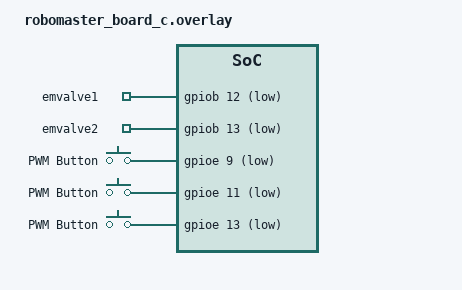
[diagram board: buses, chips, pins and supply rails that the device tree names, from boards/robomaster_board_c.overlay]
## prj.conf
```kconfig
# 启用线程分析器
CONFIG_THREAD_ANALYZER=y
CONFIG_THREAD_ANALYZER_USE_LOG=y
CONFIG_THREAD_ANALYZER_USE_PRINTK=n
CONFIG_THREAD_NAME=y
# CONFIG_THREAD_ANALYZER_AUTO=y
# CONFIG_THREAD_ANALYZER_AUTO_INTERVAL=5
CONFIG_THREAD_ANALYZER_LOG_LEVEL_INF=y
CONFIG_THREAD_ANALYZER_AUTO_SEPARATE_CORES=n


# # 调试
# CONFIG_LOG_MODE_IMMEDIATE=y
# CONFIG_ASSERT=y
# CONFIG_DEBUG_INFO=y
# CONFIG_THREAD_STACK_INFO=y
# CONFIG_STACK_SENTINEL=y

# 启用 Shell 支持
CONFIG_SHELL=n
CONFIG_SHELL_BACKENDS=n
CONFIG_SHELL_BACKEND_SERIAL=n

# 启用 UART 控制台
CONFIG_UART_CONSOLE=y

# 禁用 SEGGER RTT
CONFIG_USE_SEGGER_RTT=n

# 启用事件支持
CONFIG_EVENTS=y

# 启用控制台支持
CONFIG_CONSOLE=y

# 启用串行支持
CONFIG_SERIAL=y
CONFIG_SPI_ASYNC=y
# 禁用优化
CONFIG_NO_OPTIMIZATIONS=n

# 启用驱动
CONFIG_MOTOR=y
CONFIG_MOTOR_DJI=y
CONFIG_MOTOR_MI=y
CONFIG_MOTOR_LOG_LEVEL=4
CONFIG_CAN=y
CONFIG_MOTOR_INIT_PRIORITY=90
CONFIG_PID=y

CONFIG_ARES=y
CONFIG_ARES_SBUS=y
CONFIG_SBUS_INIT_PRIORITY=90

# use ASYNC uart API
CONFIG_SERIAL=y
CONFIG_UART_ASYNC_API=y
CONFIG_UART_INTERRUPT_DRIVEN=y

CONFIG_DMA=y
CONFIG_DMA_STM32=y  # STM32 DMA 驱动
CONFIG_UART_STM32=y # STM32 UART 驱动
# CONFIG_STM32_UART_DMA=y

# CONFIG_HAS_STM32CUBE=y
# CONFIG_USE_STM32_HAL_DMA=y
CONFIG_SPI=y
CONFIG_SPI_STM32=y

#
# Device Drivers
#
# CONFIG_SENSOR=y
# CONFIG_BMI08X=y
# CONFIG_BMI08X_ACCEL_TRIGGER_NONE is not set
# CONFIG_BMI08X_ACCEL_TRIGGER_GLOBAL_THREAD=y
# CONFIG_BMI08X_ACCEL_TRIGGER_OWN_THREAD is not set
# CONFIG_BMI08X_GYRO_TRIGGER_NONE is not set
# CONFIG_BMI08X_GYRO_TRIGGER_GLOBAL_THREAD=y
# CONFIG_BMI08X_GYRO_TRIGGER_OWN_THREAD is not set
# CONFIG_BMI08X_I2C_WRITE_BURST_SIZE=16


CONFIG_DEBUG_THREAD_INFO=y

CONFIG_MAIN_STACK_SIZE=4096
```

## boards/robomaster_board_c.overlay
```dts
/ {
    chassis: chassis {
		compatible = "ares,chassis";
		status = "okay";
		wheels = <&steerwheel1 (-2500) 1750>,
				<&steerwheel2  2500  1750>,
				<&steerwheel3 0 (-3501)>;
		angle-pid = <&chassis_roll_angle_pid>;
		max_linear_accel = "40";
		max_gyro = "20";
	};
	steerwheel {
		steerwheel1: steerwheel1 {
			#wheel-cells = <2>;
			compatible = "ares,steerwheel";
			status = "okay";
			steer-motor = <&motor_steer0>;
			wheel-motor = <&motor_wheel0>;
			wheel-radius = "5.55";
			angle-offset = "120";
		};

		steerwheel2: steerwheel2 {
			#wheel-cells = <2>;
			compatible = "ares,steerwheel";
			status = "okay";
			steer-motor = <&motor_steer1>;
			wheel-motor = <&motor_wheel1>;
			wheel-radius = "5.55";
			angle-offset = "180";
		};

		steerwheel3: steerwheel3 {
			#wheel-cells = <2>;
			compatible = "ares,steerwheel";
			status = "okay";
			steer-motor = <&motor_steer2>;
			wheel-motor = <&motor_wheel2>;
			wheel-radius = "5.55";
			angle-offset = "0";
		};
	};

	rm_motor {
		motor_wheel0: motor_wheel0{
			compatible = "dji,motor";
            is_m3508;
			id = <1>;
            rx_id = <0x201>;
            tx_id = <0x200>;
			gear_ratio = "15.7647";
			status = "okay";
			can_channel = <&can1>;
			controllers = <&wheel_angle_pid &wheel_speed_pid>;
			capabilities = "angle", "speed";
		};

		motor_wheel1: motor_wheel1{
			compatible = "dji,motor";
            is_m3508;
			id = <2>;
            rx_id = <0x202>;
            tx_id = <0x200>;
			gear_ratio = "15.7647";
			status = "okay";
			can_channel = <&can1>;
			controllers = <&wheel_angle_pid &wheel_speed_pid>;
			capabilities = "angle", "speed";
		};

		motor_wheel2: motor_wheel2{
			compatible = "dji,motor";
            is_m3508;
			id = <3>;
            rx_id = <0x203>;
            tx_id = <0x200>;
			gear_ratio = "15.7647";
			status = "okay";
			can_channel = <&can1>;
			controllers = <&wheel_angle_pid &wheel_speed_pid>;
			capabilities = "angle", "speed";
		};

		motor_steer0: motor_steer0{
			compatible = "dji,motor";
			is_m2006;
			id = <4>;
			rx_id = <0x204>;
			tx_id = <0x1FF>;
			gear_ratio = "36.0";
			status = "okay";
			can_channel = <&can1>;
			controllers = <&steer_angle_pid &steer_speed_pid>;
			capabilities = "angle", "speed";
		};

		motor_steer1: motor_steer1{
			compatible = "dji,motor";
			is_m2006;
			id = <5>;
			rx_id = <0x205>;
			tx_id = <0x1FF>;
			gear_ratio = "36.0";
			status = "okay";
			can_channel = <&can1>;
			controllers = <&steer_angle_pid &steer_speed_pid>;
			capabilities = "angle", "speed";
		};

		motor_steer2: motor_steer2{
			compatible = "dji,motor";
			is_m2006;
			id = <6>;
			rx_id = <0x206>;
			tx_id = <0x1FF>;
			gear_ratio = "36.0";
			status = "okay";
			can_channel = <&can1>;
			controllers = <&steer_angle_pid &steer_speed_pid>;
			capabilities = "angle", "speed";
		};

        motor7: motor7{
            compatible = "dji,motor";
            is_m3508;
            id = <7>;
            rx_id = <0x201>;
            tx_id = <0x200>;
            gear_ratio = "12.94";
            status = "okay";
            can_channel = <&can1>;
            controllers = <&angle_pid_1 &speed_pid_1>;
            capabilities = "angle", "speed";
        };

        motor8: motor8{
            compatible = "dji,motor";
            is_m3508;
            id = <8>;
            rx_id = <0x202>;
            tx_id = <0x200>;
            gear_ratio = "12.94";
            status = "okay";
            can_channel = <&can1>;
            controllers = <&angle_pid_1 &speed_pid_1>;
            capabilities = "angle", "speed";
        };
};
    mi_motor{
        motor1: motor1{
            compatible = "mi,motor";
            id = <1>;
            rx_id = <0x01>;
            tx_id = <0x01>;
            gear_ratio = "7.75";
            status = "okay";
            can_channel = <&can2>;
            controllers = <&mit_pid_1 &angle_pid_2 &speed_pid_2>;
            capabilities = "mit", "pv", "vo";
        };
        
        motor2: motor2{
            compatible = "mi,motor";
            id = <2>;
            rx_id = <0x02>;
            tx_id = <0x02>;
            gear_ratio = "7.75";
            status = "okay";
            can_channel = <&can2>;
            controllers = <&mit_pid_1 &angle_pid_2 &speed_pid_2>;
            capabilities = "mit", "pv", "vo";
        };

    };

   	pid {
		mit_pid_1: mit_pid_1 {
			#controller-cells = <0>;
			compatible = "pid,single";
			k_p = "95";
			k_i = "0.0";
			k_d = "47.0";
		};
		angle_pid_1: angle_pid_1 {
			#controller-cells = <0>;
			compatible = "pid,single";
			k_p = "5";
			k_d = "0.1";
		};
		speed_pid_1: speed_pid_1 {
			#controller-cells = <0>;
			compatible = "pid,single";
			k_p = "0.1";
			k_d = "0.001";
		};
		angle_pid_2: angle_pid_2 {
			#controller-cells = <0>;
			compatible = "pid,single";
			k_p = "0.7";
			k_d = "8";
		};
		speed_pid_2: speed_pid_2 {
			#controller-cells = <0>;
			compatible = "pid,single";
			k_p = "0.88";
			k_d = "0.2";
		};
        chassis_roll_angle_pid: chassis_roll_angle_pid {
			#controller-cells = <0>;
			compatible = "pid,single";
			k_p = "0.09";
			k_d = "0.27";
		};
		steer_speed_pid: steer_speed_pid {
			#controller-cells = <0>;
			compatible = "pid,single";
			k_p = "1.25";
			k_d = "28.5";
			detri_lpf = "0.95";
		};

		steer_angle_pid: steer_angle_pid {
			#controller-cells = <0>;
			compatible = "pid,single";
			k_p = "0.85";
			k_d = "20";
			detri_lpf = "0.9985";
		};
		wheel_speed_pid: wheel_speed_pid {
			#controller-cells = <0>;
			compatible = "pid,single";
			k_p = "0.12";
			k_d = "0.2";
			detri_lpf = "0.85";
			out_max = "4";
		};

		wheel_angle_pid: wheel_angle_pid {
			#controller-cells = <0>;
			compatible = "pid,single";
			k_p = "3.7";
			detri_lpf = "0.85";
		};
	};

    emvalve {
        compatible = "gpio-keys";
        emvalve1: emvalve1 {
            gpios = <&gpiob 12 GPIO_ACTIVE_LOW>;
            label = "emvalve1";
        };
        emvalve2: emvalve2 {
            gpios = <&gpiob 13 GPIO_ACTIVE_LOW>;
            label = "emvalve2";
        };
    };

    sbus0: sbus0 {
        compatible = "ares,sbus";
        status = "okay";
    };

    pwm_button {
		compatible = "gpio-keys";
		pwm_button1: button_1 {
			gpios = <&gpioe 9 (GPIO_PULL_UP | GPIO_ACTIVE_LOW)>;
			label = "PWM Button";
			zephyr,code = <INPUT_KEY_1>;
		};
		pwm_button2: button_2 {
			gpios = <&gpioe 11 (GPIO_PULL_UP | GPIO_ACTIVE_LOW)>;
			label = "PWM Button";
			zephyr,code = <INPUT_KEY_2>;
		};
		pwm_button3: button_3 {
			gpios = <&gpioe 13 (GPIO_PULL_UP | GPIO_ACTIVE_LOW)>;
			label = "PWM Button";
			zephyr,code = <INPUT_KEY_3>;
		};
	};
};
&cdc_acm_uart0 {
	status = "disabled";
};
```

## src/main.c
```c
/*
 * Copyright (c) 2024 ttwards <12411711@mail.sustech.edu.cn>
 *
 * SPDX-License-Identifier: Apache-2.0
 */

 #include "zephyr/drivers/gpio.h"
 #include <stdbool.h>
 #include <stddef.h>
 #include <stdint.h>
 #include <stdio.h>
 #include <math.h>
 #include <zephyr/device.h>
 #include <zephyr/logging/log.h>
 #include <zephyr/devicetree.h>
 #include <zephyr/drivers/can.h>
 #include <zephyr/debug/thread_analyzer.h>
 #include <zephyr/kernel.h>
 #include <zephyr/sys/printk.h>
 #include <zephyr/drivers/uart.h>
 #include <zephyr/drivers/motor.h>
 #include <zephyr/drivers/sbus.h>
 #include <zephyr/drivers/sensor.h>
 #include "device.h"

 LOG_MODULE_REGISTER(main, LOG_LEVEL_DBG);

#define G 9.80665f
#define M_PI 3.14159265358979323846f
#define orig_angle_1 156.91f  //电机1的限位角度
#define orig_angle_2 136.32f  //电机2的限位角度
#define angle_range 113.23f    //电机的总限位角度
#define IK_EPSILON 1e-9

#define HIGH_BYTE(x) ((x) >> 8)
#define LOW_BYTE(x) ((x)&0xFF)
#define COMBINE_HL8(HIGH, LOW) ((HIGH << 8) + LOW)
 

 float current_angle3 = 0.0f; // 当前电机3角度（运球抬升mi）
 float current_angle4 = 0.0f; // 当前电机4角度（推射抬升mi）
 //float current_angle7 = 0.0f; // 当前电机7角度
 //float current_angle8 = 0.0f; // 当前电机8角度
 
//  --- 将 feedback_thread_data 的声明移到全局范围 ---
 struct k_thread feedback_thread_data; // <--- 这里是关键改动
 k_tid_t feedback_tid = 0; // 如果 feedback_tid 也声明在 main 里，也要移到这里


// 全局变量
static bool arm_position_reached_90 = false;
static bool arm_position_reached_60 = false;
//  K_THREAD_STACK_DEFINE(feedback_stack_area, 4096);

//  void console_feedback(void *arg1, void *arg2, void *arg3)
//  {
//    while (1) {
//      k_msleep(20);
//      LOG_INF("motor1: %.2f", motor_get_angle(motor5));
//      LOG_INF("motor2: %.2f", motor_get_angle(motor6));
//    }
//  }
//  K_THREAD_DEFINE(feedback_thread, 4096, console_feedback, NULL, NULL, NULL, 1, 0,
//     100);


 bool sbus_get_bool(const struct device *sbus, int channel)
{
	sbus_get_digit(sbus, channel);
	return (double)sbus_get_percent(sbus, channel) > 0.5;
}

// 添加互斥锁定义
K_MUTEX_DEFINE(motor_mutex);
K_MUTEX_DEFINE(sbus_mutex);

// 全局状态变量
static volatile bool ball_movement_active = false;
static volatile bool ball_thread_should_stop = false;

void execute_ball_movement(void)
{
    LOG_INF("Executing ball movement sequence");
    
    // 第一阶段：加速
    motor_set_speed(motor1, 400.0);
    motor_set_speed(motor2, -400.0);
    k_msleep(200);
    
    // 检查是否应该停止
    if (ball_thread_should_stop) {
        goto cleanup;
    }
    
    // 渐减速度
    for (int i = 60; i > 0; i--) {
        if (ball_thread_should_stop) {
            goto cleanup;
        }
        motor_set_speed(motor1, 400.0f * sqrtf(i / 60.0f));
        motor_set_speed(motor2, -400.0f * sqrtf(i / 60.0f));
        k_msleep(3);
    }
    
    // 第二阶段：反向运动
    motor_set_speed(motor1, -250);
    motor_set_speed(motor2, 230);
    k_msleep(400);
    
    // 检查是否应该停止
    if (ball_thread_should_stop) {
        goto cleanup;
    }
    
    // 反向渐减
    for (int i = 50; i > 1; i--) {
        if (ball_thread_should_stop) {
            goto cleanup;
        }
        motor_set_speed(motor1, -250.0f * sqrtf(i / 100.0f));
        motor_set_speed(motor2, 230.0f * sqrtf(i / 100.0f));
        k_msleep(5);
    }
    
    // 缓慢运动
    motor_set_speed(motor1, -25);
    motor_set_speed(motor2, 20);
    k_msleep(1000);
    motor_set_speed(motor1, 0);
    motor_set_speed(motor2, 0);
    k_msleep(1100);
    
cleanup:
    // 确保电机停止
    motor_set_torque(motor1, 0);
    motor_set_torque(motor2, 0);
    LOG_INF("Ball movement sequence complete");
}

void ball_movement_thread(void *arg1, void *arg2, void *arg3)
{
    while(1)
    {
        // 获取互斥锁保护SBUS读取
        if (k_mutex_lock(&sbus_mutex, K_MSEC(10)) == 0) {
            bool sbus_ball_active = sbus_get_bool(sbus, 5);
            k_mutex_unlock(&sbus_mutex);
            
            if (sbus_ball_active && !ball_thread_should_stop) {
                // 获取电机控制权
                if (k_mutex_lock(&motor_mutex, K_MSEC(50)) == 0) {
                    ball_movement_active = true;
                    LOG_INF("Ball thread: Starting ball movement");
                    
                    // 执行运球动作
                    execute_ball_movement();
                    
                    ball_movement_active = false;
                    k_mutex_unlock(&motor_mutex);
                    LOG_INF("Ball thread: Ball movement complete");
                } else {
                    LOG_WRN("Ball thread: Could not acquire motor mutex");
                }
            } else {
                // 确保电机停止
                if (k_mutex_lock(&motor_mutex, K_MSEC(10)) == 0) {
                    if (ball_movement_active) {
                        motor_set_torque(motor1, 0);
                        motor_set_torque(motor2, 0);
                        ball_movement_active = false;
                        LOG_INF("Ball thread: Motors stopped");
                    }
                    k_mutex_unlock(&motor_mutex);
                }
            }
        }
        
        k_msleep(100);  // 降低检查频率
    }
}



// 修改线程优先级
K_THREAD_DEFINE(ball_thread, 4096, ball_movement_thread, NULL, NULL, NULL, 7, 0, 0);
//                                                                           ^
//
// 降低优先级到7


// 电磁阀控制线程
void valve_control_thread(void *arg1, void *arg2, void *arg3)
{
    while(1) {
        if (k_mutex_lock(&sbus_mutex, K_MSEC(10)) == 0) {
            float valve_percent = sbus_get_percent(sbus, 6);
            k_mutex_unlock(&sbus_mutex);
            
            if (valve_percent > 0.5f) {
                gpio_pin_set_dt(&emvalve1, true);   // 推球
                gpio_pin_set_dt(&emvalve2, false);  // 不吸球
            }
            else if (valve_percent == 0.0f) {
                gpio_pin_set_dt(&emvalve1, false);  // 不推球
                gpio_pin_set_dt(&emvalve2, true);   // 吸球
            }
            else {
                gpio_pin_set_dt(&emvalve1, false);  // 不推球
                gpio_pin_set_dt(&emvalve2, false);  // 不吸球
            }
        }
        
        k_msleep(20);  // 高频响应
    }
}

// 创建电磁阀线程
K_THREAD_DEFINE(valve_thread, 1024, valve_control_thread, NULL, NULL, NULL, 6, 0, 0);


void execute_lifting_control(void)
{
    // 原有的抬升控制逻辑
    current_angle3 = motor_get_angle(motor7);
    current_angle4 = motor_get_angle(motor8);
    
    static bool prev_lifting_state = false;
    static bool lifting_sequence_running = false;
    static bool target_position_reached = false;
    
    bool current_lifting_state = sbus_get_bool(sbus, 4);
    
    // 检测状态变化 - 类似中断触发
    if (current_lifting_state != prev_lifting_state && !lifting_sequence_running) {
        if (current_lifting_state) {
            // 开始抬升序列
            // LOG_INF("SBUS Channel 7 triggered - Starting lifting sequence");
            lifting_sequence_running = true;
            
            // 执行抬升的渐进序列
            for (int i = 1; i < 10; i++) {
                float target_angle3 = ((-105.0f - current_angle3) * (float)i / 9.0f) + current_angle3;
                // float target_angle4 = ((-94.0f - current_angle4) * (float)i / 9.0f) + current_angle4;
                
                motor_set_mit(motor7, 0.0f, target_angle3, 5.0f);
                // motor_set_mit(motor4, 0.0f, target_angle4, 0.2f);
                
                k_msleep(80);
                
                // 检查是否被中断
                if (!sbus_get_bool(sbus, 4)) {
                    lifting_sequence_running = false;
                    break;
                }
            }
            
            if (lifting_sequence_running) {
                motor_set_mit(motor7, 0.0f, -105.0f, 5.0f);
                // motor_set_mit(motor4, 0.0f, -94.0f, 4.0f);
                target_position_reached = true;
                // LOG_INF("Lifting sequence complete");
            }
            lifting_sequence_running = false;
            
        } else {
            // 开始下降序列
            // LOG_INF("Starting falling sequence");
            lifting_sequence_running = true;
            target_position_reached = false;
            
            for (int i = 1; i < 10; i++) {
                float target_angle3 = ((0.0f - current_angle3) * (float)i / 9.0f) + current_angle3;
                // float target_angle4 = ((0.0f - current_angle4) * (float)i / 9.0f) + current_angle4;
                
                motor_set_mit(motor7, 0.0f, target_angle3, 0.0f);
                // motor_set_mit(motor4, 0.0f, target_angle4, 0.0f);
                
                k_msleep(80);
                
                if (sbus_get_bool(sbus, 4)) {
                    lifting_sequence_running = false;
                    break;
                }
            }
            lifting_sequence_running = false;
            // LOG_INF("Falling sequence complete");
        }
        
        prev_lifting_state = current_lifting_state;
    }
    
    // 位置保持逻辑
    if (!lifting_sequence_running) {
        if (current_lifting_state && target_position_reached) {
            motor_set_mit(motor7, 0.0f, -105.0f, 5.0f);
            // motor_set_mit(motor4, 0.0f, -94.0f, 4.0f);
        } else if (!current_lifting_state && !target_position_reached) {
            motor_set_mit(motor7, 0.0f, 0.0f, 2.0f);
            // motor_set_mit(motor4, 0.0f, 0.0f, 4.0f);
        }
    }

}

void execute_arm_control(void)
{
    if (sbus_get_percent(sbus, 7) > 0.5f) {
        if (!arm_position_reached_90) { // 只有未完成抬升时才执行
            // 逐渐抬升到 -90.0f
            for (int i = 1; i <= 10; i++) {
                float target_angle = ((-90.0f - current_angle4) * (float)i / 10.0f) + current_angle4;
                motor_set_mit(motor8, 0.0f, target_angle, 0.1f);
                k_msleep(60);
            }
            arm_position_reached_90 = true; // 标记为已完成抬升
            arm_position_reached_60 = false; // 重置状态
        }
    } 
    
    else if(sbus_get_percent(sbus, 7) == 0.0f) {
        if (!arm_position_reached_60) { // 只有未完成抬升时才执行
            // 逐渐抬升到 -60.0f
            for (int i = 1; i <= 10; i++) {
                float target_angle = ((-60.0f - current_angle4) * (float)i / 10.0f) + current_angle4;
                motor_set_mit(motor8, 0.0f, target_angle, 0.1f);
                k_msleep(30);
            }
            arm_position_reached_60 = true; // 标记为已完成抬升
            arm_position_reached_90 = false; // 重置状态
        }
    }
    
    else {
        if (arm_position_reached_60 || arm_position_reached_90) { // 只有未完成下降时才执行
            // 逐渐下降到 0.0f
            for (int i = 1; i <= 10; i++) {
                float target_angle = ((0.0f - current_angle4) * (float)i / 10.0f) + current_angle4;
                motor_set_mit(motor8, 0.0f, target_angle, 0.5f);
                k_msleep(60);
            }
            arm_position_reached_60 = false;
            arm_position_reached_90 = false; // 标记为已完成下降
        }
    }
}


int main(void)
{
    gpio_pin_configure_dt(&emvalve1, GPIO_OUTPUT_ACTIVE);
    gpio_pin_configure_dt(&emvalve2, GPIO_OUTPUT_ACTIVE);

    // 设备就绪检查
    if (!device_is_ready(motor1) || !device_is_ready(motor2) ||
        !device_is_ready(motor7) || !device_is_ready(motor8)) {
        LOG_ERR("One or more motor devices are not ready!");
        return 0;
    }

    motor_control(motor1, SET_ZERO);
    motor_control(motor2, SET_ZERO);
    motor_set_angle(motor1, 0);
    motor_set_angle(motor2, 0);

    // 初始化抬升电机 - 直接在主函数中
    motor_set_mode(motor7, MIT);
    k_sleep(K_MSEC(1));
    motor_set_mode(motor8, MIT);
    k_sleep(K_MSEC(1));
    motor_control(motor7, SET_ZERO);
    k_sleep(K_MSEC(1));
    motor_control(motor8, SET_ZERO);
    k_sleep(K_MSEC(1));

    // motor_set_angle(motor3, 0);
    // motor_set_angle(motor4, 0);

    // Five link;
    // five_init(&link, 230.0, 270.0, 270.0, 230.0, 200.0);
    // motor_set_mode(motor5, MIT);
    // k_msleep(1);
    // motor_set_mode(motor6, MIT);
    // k_msleep(550);

    // init_position(); //五连杆初始化
    // k_msleep(1000);



    
    while (1) {
        // 检查运球线程状态
        if (k_mutex_lock(&sbus_mutex, K_MSEC(10)) == 0) {
            bool current_ball_state = sbus_get_bool(sbus, 5);
            k_mutex_unlock(&sbus_mutex);
            
            if (current_ball_state) {
                ball_thread_should_stop = false;
                LOG_INF("Main: Ball movement active");
                k_msleep(100);
                continue;
            } else {
                ball_thread_should_stop = true;
            }
        }

        // 其他电机控制逻辑...
        if (k_mutex_lock(&motor_mutex, K_MSEC(10)) == 0) {
            if (!ball_movement_active) {
                execute_lifting_control();
                execute_arm_control();
            }
            k_mutex_unlock(&motor_mutex);
        }

        k_msleep(50);
    }
        
        


//推射大臂

// if (sbus_get_bool(sbus, 7) > 0 && arm_position_reached) {
//     // 逐渐抬升到 -90.0f
//     for (int i = 1; i <= 10; i++) {
//         float target_angle = ((-90.0f - current_angle4) * (float)i / 10.0f) + current_angle4;
//         motor_set_mit(motor4, 0.0f, target_angle, 0.1f);
//         k_msleep(300); // 每次调整后等待 50ms
//     }
//     arm_position_reached = true; // 标记为已到达目标位置
// } else {
//     // 逐渐回到 0.0f
//     for (int i = 1; i <= 10; i++) {
//         float target_angle = ((0.0f - current_angle4) * (float)i / 10.0f) + current_angle4;
//         motor_set_mit(motor4, 0.0f, target_angle, -0.1f);
//         k_msleep(300); // 每次调整后等待 50ms
//     }
//     arm_position_reached = false; // 重置状态
// }

}
```

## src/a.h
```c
#ifndef DEVICE_H
#define DEVICE_H

#include <zephyr/device.h>
#include <zephyr/devicetree.h>
#include <zephyr/drivers/gpio.h>

// DeviceTree节点定义
#define MOTOR1_NODE DT_NODELABEL(motor0)//运球3508
#define MOTOR2_NODE DT_NODELABEL(motor1)//运球3508
#define MOTOR3_NODE DT_NODELABEL(motor2)//运球抬升mi
#define MOTOR4_NODE DT_NODELABEL(motor3)//推射mi

#define SBUS_NODE DT_NODELABEL(sbus0)
#define EMValve1 DT_NODELABEL(emvalve1)
#define EMValve2 DT_NODELABEL(emvalve2)

#define CPU_NODE DT_NODELABEL(cpu0)

// 设备指针声明 (extern关键字表示这些变量在其他文件中定义)
extern const struct device *cpu_dev;
extern const struct device *motor1;
extern const struct device *motor2;
extern const struct device *motor3;
extern const struct device *motor4;

extern const struct device *sbus;
extern const struct gpio_dt_spec emvalve1;
extern const struct gpio_dt_spec emvalve2;

#endif // DEVICE_H
```

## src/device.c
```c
#include "device.h"

// 实际定义设备指针变量
const struct device *cpu_dev = DEVICE_DT_GET(CPU_NODE);
const struct device *motor1 = DEVICE_DT_GET(MOTOR1_NODE);
const struct device *motor2 = DEVICE_DT_GET(MOTOR2_NODE);
const struct device *motor3 = DEVICE_DT_GET(MOTOR3_NODE);
const struct device *motor4 = DEVICE_DT_GET(MOTOR4_NODE);
const struct device *motor5 = DEVICE_DT_GET(MOTOR5_NODE);
const struct device *motor6 = DEVICE_DT_GET(MOTOR6_NODE);
const struct device *motor7 = DEVICE_DT_GET(MOTOR7_NODE);
const struct device *motor8 = DEVICE_DT_GET(MOTOR8_NODE);
const struct device *sbus = DEVICE_DT_GET(SBUS_NODE);
const struct gpio_dt_spec emvalve1 = GPIO_DT_SPEC_GET_BY_IDX(EMValve1, gpios, 0);
const struct gpio_dt_spec emvalve2 = GPIO_DT_SPEC_GET_BY_IDX(EMValve2, gpios, 0);
```

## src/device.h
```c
#ifndef DEVICE_H
#define DEVICE_H

#include <zephyr/device.h>
#include <zephyr/devicetree.h>
#include <zephyr/drivers/gpio.h>

/* Devicetree */
#define ACCEL_NODE DT_NODELABEL(bmi08x_accel)
const struct device *accel_dev = DEVICE_DT_GET(ACCEL_NODE);

#define GYRO_NODE DT_NODELABEL(bmi08x_gyro)
const struct device *gyro_dev = DEVICE_DT_GET(GYRO_NODE);

#define WHEELMOTOR1_NODE DT_NODELABEL(motor_wheel0)
#define WHEELMOTOR2_NODE DT_NODELABEL(motor_wheel1)
#define WHEELMOTOR3_NODE DT_NODELABEL(motor_wheel2)

#define STEERMOTOR1_NODE DT_NODELABEL(motor_steer0)
#define STEERMOTOR2_NODE DT_NODELABEL(motor_steer1)
#define STEERMOTOR3_NODE DT_NODELABEL(motor_steer2)

#define MOTOR1_NODE DT_NODELABEL(motor1)//运球抬升mi
#define MOTOR2_NODE DT_NODELABEL(motor2)//推射mi
#define MOTOR7_NODE DT_NODELABEL(motor7)//运球3508
#define MOTOR8_NODE DT_NODELABEL(motor8)//运球3508

#define BUTTON1_NODE DT_NODELABEL(pwm_button1)
#define BUTTON2_NODE DT_NODELABEL(pwm_button2)
#define BUTTON3_NODE DT_NODELABEL(pwm_button3)

#define CHASSIS_NODE DT_NODELABEL(chassis)

#define EMValve1 DT_NODELABEL(emvalve1)
#define EMValve2 DT_NODELABEL(emvalve2)

#define CPU_NODE DT_NODELABEL(cpu0)

const struct device *cpu_dev = DEVICE_DT_GET(CPU_NODE);

const struct device *wheel_motor1 = DEVICE_DT_GET(WHEELMOTOR1_NODE);
const struct device *wheel_motor2 = DEVICE_DT_GET(WHEELMOTOR2_NODE);
const struct device *wheel_motor3 = DEVICE_DT_GET(WHEELMOTOR3_NODE);

const struct device *steer_motor1 = DEVICE_DT_GET(STEERMOTOR1_NODE);
const struct device *steer_motor2 = DEVICE_DT_GET(STEERMOTOR2_NODE);
const struct device *steer_motor3 = DEVICE_DT_GET(STEERMOTOR3_NODE);

const struct device *motor1 = DEVICE_DT_GET(MOTOR1_NODE);
const struct device *motor2 = DEVICE_DT_GET(MOTOR2_NODE);

const struct device *motor7 = DEVICE_DT_GET(MOTOR7_NODE);
const struct device *motor8 = DEVICE_DT_GET(MOTOR8_NODE);

const struct gpio_dt_spec emvalve1 = GPIO_DT_SPEC_GET_BY_IDX(EMValve1, gpios, 0);
const struct gpio_dt_spec emvalve2 = GPIO_DT_SPEC_GET_BY_IDX(EMValve2, gpios, 0);

static const struct gpio_dt_spec button1 = GPIO_DT_SPEC_GET_OR(BUTTON1_NODE, gpios, {0});
static const struct gpio_dt_spec button2 = GPIO_DT_SPEC_GET_OR(BUTTON2_NODE, gpios, {0});
static const struct gpio_dt_spec button3 = GPIO_DT_SPEC_GET_OR(BUTTON3_NODE, gpios, {0});

const struct device *chassis = DEVICE_DT_GET(CHASSIS_NODE);

#define SBUS_NODE DT_NODELABEL(sbus0)
const struct device *sbus = DEVICE_DT_GET(SBUS_NODE);

#endif // DEVICE_H
```
